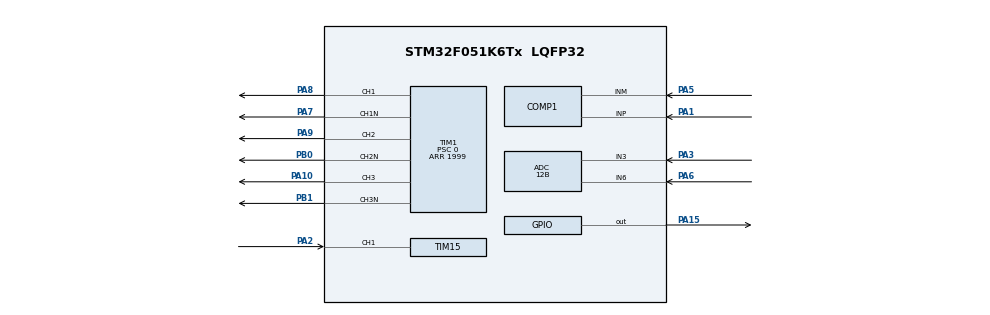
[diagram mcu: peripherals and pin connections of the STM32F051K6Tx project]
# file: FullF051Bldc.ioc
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ADC.ClockPrescaler=ADC_CLOCK_ASYNC_DIV1
ADC.ContinuousConvMode=DISABLE
ADC.DMAContinuousRequests=DISABLE
ADC.DataAlign=ADC_DATAALIGN_RIGHT
ADC.DiscontinuousConvMode=ENABLE
ADC.EOCSelection=ADC_EOC_SEQ_CONV
ADC.EnableAnalogWatchDog=false
ADC.ExternalTrigConv=ADC_SOFTWARE_START
ADC.ExternalTrigConvEdge=ADC_EXTERNALTRIGCONVEDGE_NONE
ADC.LowPowerAutoPowerOff=DISABLE
ADC.LowPowerAutoWait=DISABLE
ADC.Overrun=ADC_OVR_DATA_PRESERVED
ADC.Resolution=ADC_RESOLUTION_12B
ADC.SamplingTime=ADC_SAMPLETIME_239CYCLES_5
ADC.ScanConvMode=ADC_SCAN_DIRECTION_FORWARD
COMP1.Hysteresis=COMP_HYSTERESIS_NONE
COMP1.TriggerMode=COMP_TRIGGERMODE_IT_RISING_FALLING
Dma.Request0=TIM15_CH1/UP/TRIG/COM
Dma.Request1=TIM2_UP
Dma.Request2=TIM2_CH3
Dma.TIM15_CH1/UP/TRIG/COM.0.Direction=DMA_PERIPH_TO_MEMORY
Dma.TIM15_CH1/UP/TRIG/COM.0.Instance=DMA1_Channel5
Dma.TIM15_CH1/UP/TRIG/COM.0.MemDataAlignment=DMA_MDATAALIGN_WORD
Dma.TIM15_CH1/UP/TRIG/COM.0.MemInc=DMA_MINC_ENABLE
Dma.TIM15_CH1/UP/TRIG/COM.0.Mode=DMA_NORMAL
Dma.TIM15_CH1/UP/TRIG/COM.0.PeriphDataAlignment=DMA_PDATAALIGN_HALFWORD
Dma.TIM15_CH1/UP/TRIG/COM.0.PeriphInc=DMA_PINC_DISABLE
Dma.TIM15_CH1/UP/TRIG/COM.0.Priority=DMA_PRIORITY_MEDIUM
Dma.TIM2_CH3.2.Direction=DMA_MEMORY_TO_PERIPH
Dma.TIM2_CH3.2.Instance=DMA1_Channel1
Dma.TIM2_CH3.2.MemDataAlignment=DMA_MDATAALIGN_WORD
Dma.TIM2_CH3.2.MemInc=DMA_MINC_ENABLE
Dma.TIM2_CH3.2.Mode=DMA_NORMAL
Dma.TIM2_CH3.2.PeriphDataAlignment=DMA_PDATAALIGN_WORD
Dma.TIM2_CH3.2.PeriphInc=DMA_PINC_DISABLE
Dma.TIM2_CH3.2.Priority=DMA_PRIORITY_LOW
Dma.TIM2_UP.1.Direction=DMA_MEMORY_TO_PERIPH
Dma.TIM2_UP.1.Instance=DMA1_Channel2
Dma.TIM2_UP.1.MemDataAlignment=DMA_MDATAALIGN_WORD
Dma.TIM2_UP.1.MemInc=DMA_MINC_ENABLE
Dma.TIM2_UP.1.Mode=DMA_NORMAL
Dma.TIM2_UP.1.PeriphDataAlignment=DMA_PDATAALIGN_WORD
Dma.TIM2_UP.1.PeriphInc=DMA_PINC_DISABLE
Dma.TIM2_UP.1.Priority=DMA_PRIORITY_LOW
IWDG.Prescaler=IWDG_PRESCALER_16
IWDG.Reload=4000
IWDG.Window=4095
Mcu.Family=STM32F0
Mcu.Name=STM32F051K6Tx
Mcu.Package=LQFP32
NVIC.ADC1_COMP_IRQn=true\:0\:0\:true\:false\:true\:false\:true
NVIC.DMA1_Channel1_IRQn=true\:1\:0\:true\:false\:true\:false\:true
NVIC.DMA1_Channel2_3_IRQn=true\:1\:0\:true\:false\:true\:false\:true
NVIC.DMA1_Channel4_5_IRQn=true\:1\:0\:true\:false\:true\:false\:true
NVIC.TIM14_IRQn=true\:2\:0\:true\:false\:true\:true\:true
NVIC.TIM16_IRQn=true\:2\:0\:true\:false\:true\:true\:true
NVIC.TIM6_DAC_IRQn=true\:0\:0\:false\:false\:true\:true\:true
PA1.Mode=INP
PA1.Signal=COMP1_INP
PA10.Signal=S_TIM1_CH3
PA13.Mode=Serial_Wire
PA13.Signal=SYS_SWDIO
PA14.Mode=Serial_Wire
PA14.Signal=SYS_SWCLK
PA15.Signal=GPIO_Output
PA2.Signal=S_TIM15_CH1
PA3.Mode=IN3
PA3.Signal=ADC_IN3
PA5.Mode=INM
PA5.Signal=COMP1_INM
PA6.Mode=IN6
PA6.Signal=ADC_IN6
PA7.Mode=PWM Generation1 CH1 CH1N
PA7.Signal=TIM1_CH1N
PA8.Signal=S_TIM1_CH1
PA9.Signal=S_TIM1_CH2
PB0.Mode=PWM Generation2 CH2 CH2N
PB0.Signal=TIM1_CH2N
PB1.Mode=PWM Generation3 CH3 CH3N
PB1.Signal=TIM1_CH3N
ProjectManager.HeapSize=0x200
ProjectManager.StackSize=0x400
ProjectManager.TargetToolchain=STM32CubeIDE
RCC.AHBFreq_Value=48000000
RCC.APB1Freq_Value=48000000
RCC.APB1TimFreq_Value=48000000
RCC.HCLKFreq_Value=48000000
RCC.PLLMUL=RCC_PLL_MUL12
RCC.SYSCLKFreq_VALUE=48000000
RCC.SYSCLKSource=RCC_SYSCLKSOURCE_PLLCLK
SH.S_TIM15_CH1.0=TIM15_CH1,Input_Capture1_from_TI1
SH.S_TIM15_CH1.1=TIM15_CH1,TriggerSource_TI1FP1
SH.S_TIM1_CH1.0=TIM1_CH1,PWM Generation1 CH1 CH1N
SH.S_TIM1_CH2.0=TIM1_CH2,PWM Generation2 CH2 CH2N
SH.S_TIM1_CH3.0=TIM1_CH3,PWM Generation3 CH3 CH3N
TIM1.Channel-PWM\ Generation1\ CH1\ CH1N=TIM_CHANNEL_1
TIM1.Channel-PWM\ Generation2\ CH2\ CH2N=TIM_CHANNEL_2
TIM1.Channel-PWM\ Generation3\ CH3\ CH3N=TIM_CHANNEL_3
TIM1.Channel-PWM\ Generation4\ No\ Output=TIM_CHANNEL_4
TIM1.CounterMode=TIM_COUNTERMODE_UP
TIM1.DeadTime=70
TIM1.Period=1999
TIM1.Prescaler=0
TIM1.TIM_MasterOutputTrigger=TIM_TRGO_RESET
TIM1.TIM_MasterSlaveMode=TIM_MASTERSLAVEMODE_DISABLE
TIM14.Period=4000
TIM14.Prescaler=10
TIM15.Channel-Input_Capture1_from_TI1=TIM_CHANNEL_1
TIM15.ICPolarity_CH1=TIM_INPUTCHANNELPOLARITY_BOTHEDGE
TIM15.Period=0xffff
TIM16.Period=9000
TIM17.Period=65535
TIM17.Prescaler=47
TIM2.Channel-PWM\ Generation3\ No\ Output=TIM_CHANNEL_3
TIM2.OC3Preload_PWM=DISABLE
TIM2.OCFastMode_PWM-PWM\ Generation3\ No\ Output=TIM_OCFAST_ENABLE
TIM2.OCPolarity_3=TIM_OCPOLARITY_LOW
TIM2.Period=64
TIM2.Prescaler=1
TIM3.Period=65535
TIM3.Prescaler=10
TIM6.Period=65535
TIM6.Prescaler=10
VP_ADC_TempSens_Input.Mode=IN-TempSens
VP_IWDG_VS_IWDG.Mode=IWDG_Activate
VP_TIM14_VS_ClockSourceINT.Mode=Enable_Timer
VP_TIM15_VS_ControllerModeReset.Mode=Reset Mode
VP_TIM16_VS_ClockSourceINT.Mode=Enable_Timer
VP_TIM17_VS_ClockSourceINT.Mode=Enable_Timer
VP_TIM1_VS_ClockSourceINT.Mode=Internal
VP_TIM1_VS_no_output4.Mode=PWM Generation4 No Output
VP_TIM2_VS_ClockSourceINT.Mode=Internal
VP_TIM2_VS_no_output3.Mode=PWM Generation3 No Output
VP_TIM3_VS_ClockSourceINT.Mode=Internal
VP_TIM6_VS_ClockSourceINT.Mode=Enable_Timer
board=f051bldc

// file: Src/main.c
/* USER CODE BEGIN Header */
/*
 Firmware for the stm32f051 mcu for controlling brushless or brushed motors, current accepts servo signal input or dshot 300 ( bi-directional )
 other modes disabled for now.
*/
#include "main.h"

uint16_t VirtAddVarTab[NB_OF_VAR] = { 0x5555, 0x6666, 0x7777 };
uint16_t VarDataTab[NB_OF_VAR] = { 0, 0, 0 };
uint16_t VarValue, VarDataTmp;

uint32_t ee_status;

// variables to use for eeprom function,  ie: EE_WriteVariable(VirtAddVarTab[EEvehiclemode],  vehicle_mode ;

enum userVars {
	EEvehiclemode = 0, EEdirection = 1, EEbidirection = 2,
//	EEbrake_on_stop = 3
};
char bi_polar = 0;
char sine_mode_range = 52; // 0-52 at 0 there is no sine mode at 52 gives a input range 47-99 sine
int boost_level = 1; // for stall protection the amount that gets added to duty cycle.

char polling_mode = 0;  // for better low speed accuracy
int test_comp_output = 0;
int level = 0;
int dir_reversed = 0;   // global direction reversed set in eeprom
//uint32_t extiline;

int forcedcomcount = 0;
char bad_commutation = 0;

int bi_direction = 0;
char comp_pwm = 1;           // for complementary pwm , 0 for diode freewheeling
int brake = 1;                          // apply full motor brake on stop
int start_power = 200;
char prop_brake = 0;
int prop_brake_strength = 300;
int IC_buffer_size = 64;

char prop_brake_active = 0;
int adjusted_input;

int dshotcommand = 0;
uint8_t calcCRC;
uint8_t checkCRC;
int error = 0;

int count = 0;
int tempbrake = 0;

char advancedivisor = 12;               // increase divisor to decrease advance,
char advancedivisorup = 3;
char advancedivisordown = 3;
int advance_multiplier = 0;
int min_advance_multiplier = 4; // * 2.25 to get advance degrees to 10 would be 22.5 degrees advance.
int max_advance_multiplier = 10;

int dither_count;
int dither_amount = 10;

int lastzctime = 0;
int sensorless = 0;
int commutation_interval = 0;

int pwm_settle = 50;
int demagtime = 5;
char filter_level = 1;
char compit = 0;
int filter_delay = 2;

int filter_level_up = 8;
int filter_level_down = 8;
int forcedcount = 0;
int control_loop_count;
int zctimeout = 0;
int zc_timeout_threshold = 2400;   // depends on speed of main loop

int signaltimeout = 0;
int signal_timeout_threshold = 20000;

int temp_step;
int ROC = 1;

int tim2_start_arr = 9000;

int duty_cycle = 100;
int adjusted_duty_cycle = 0;

int pwm = 1;
int floating = 2;
int lowside = 3;
int bemf_counts;
int k_erpm;

int forward = 1;

int running = 0;
int started = 0;
uint8_t armed = 0;
int armedcount = 0;

int input_buffer_size = 64;
int smallestnumber = 20000;
uint32_t dma_buffer[64];

int input = 0;
int newinput = 0;

char dshot = 0;
char proshot = 0;
char multishot = 0;
char oneshot42 = 0;
char oneshot125 = 0;
char servoPwm = 0;

char brushed_direction_set = 0;

char inputSet = 0;

int phase_A_position;
int phase_B_position;
int phase_C_position;
int step_delay = 4000;
int gate_drive_offset = 100;
int sine_mode = 0;

int input_override;

uint32_t gcrtest[23] =  {0,0,0,0,0,0,0,0,0,0,0,0,0,0,0,0,0,0,0,0,0,0,0};
uint32_t gcr[23] =  {0,0,0,0,0,0,0,0,0,0,0,0,0,0,0,0,0,0,0,0,0,0,0};
uint16_t gcr_encode_table[16] = { 0b11001,
		0b11011,
		0b10010,
		0b10011,
		0b11101,
		0b10101,
		0b10110,
		0b10111,
		0b11010,
		0b01001,
		0b01010,
		0b01011,
		0b11110,
		0b01101,
		0b01110,
		0b01111
};
uint32_t gcrnumber;
int pwmSin[] = {128,130,132,134,136,139,141,143,
				145,147,150,152,154,156,158,160,
				163,165,167,169,171,173,175,177,
				179,181,183,185,187,189,191,193,
				195,197,199,201,202,204,206,208,
				209,211,213,214,216,218,219,221,
				222,224,225,227,228,229,231,232,
				233,234,236,237,238,239,240,241,
				242,243,244,245,246,247,247,248,
				249,249,250,251,251,252,252,253,
				253,253,254,254,254,255,255,255,
				255,255,255,255,255,255,255,255,
				254,254,254,253,253,253,252,252,
				251,251,250,249,249,248,247,247,
				246,245,244,243,242,241,240,239,
				238,237,236,234,233,232,231,229,
				228,227,225,224,222,221,219,218,
				216,214,213,211,209,208,206,204,
				202,201,199,197,195,193,191,189,
				187,185,183,181,179,177,175,173,
				171,169,167,165,163,160,158,156,
				154,152,150,147,145,143,141,139,
				136,134,132,130,128,125,123,121,
				119,116,114,112,110,108,105,103,
				101,99,97,95,92,90,88,86,
				84,82,80,78,76,74,72,70,
				68,66,64,62,60,58,56,54,
				53,51,49,47,46,44,42,41,
				39,37,36,34,33,31,30,28,
				27,26,24,23,22,21,19,18,
				17,16,15,14,13,12,11,10,
				9,8,8,7,6,6,5,4,
				4,3,3,2,2,2,1,1,
				1,0,0,0,0,0,0,0,
				0,0,0,0,1,1,1,2,
				2,2,3,3,4,4,5,6,
				6,7,8,8,9,10,11,12,
				13,14,15,16,17,18,19,21,
				22,23,24,26,27,28,30,31,
				33,34,36,37,39,41,42,44,
				46,47,49,51,53,54,56,58,
				60,62,64,66,68,70,72,74,
				76,78,80,82,84,86,88,90,
				92,95,97,99,101,103,105,108,
				110,112,114,116,119,121,123,125};
int tim1_arr = 0;
int timer_2_period = 55;
int timer_2_prescaler = 2;
int high_bit_length = 65;
int timer_15_prescaler = 0;
char is_output = 0;

int e_com_time = 65408;
int lastnumber = 0;
int shift_amount = 0;
char dshot_telemetry = 0;
char delay_before_output = 0;
int wait_after = 2500;
int wait_before = 700; // delay after getting dshot signal before changing over to output
//int dshot_full_number;
int timer_16_period = 6000;

char blanktime_int = 0;
int duration_in_microseconds;

int vehicle_mode = VEHICLE_MODE;
int commandcount = 0;
int tocheck = 0;
/* USER CODE END PV */

long map(long x, long in_min, long in_max, long out_min, long out_max) {
	if (x < in_min) {
		x = in_min;
	}
	if (x > in_max) {
		x = in_max;
	}
	return (x - in_min) * (out_max - out_min) / (in_max - in_min) + out_min;
}

void storeEEpromConfig() {

	EE_WriteVariable(VirtAddVarTab[EEvehiclemode], vehicle_mode);
	EE_WriteVariable(VirtAddVarTab[EEdirection], dir_reversed);
	EE_WriteVariable(VirtAddVarTab[EEbidirection], bi_direction);
	// EE_WriteVariable(VirtAddVarTab[EEbrake_on_stop], EEbrake_on_stop);

	// playEEpromSavedTune();
}

void loadEEpromConfig() {
	EE_ReadVariable(VirtAddVarTab[EEvehiclemode], &VarDataTab[EEvehiclemode]);
	EE_ReadVariable(VirtAddVarTab[EEdirection], &VarDataTab[EEdirection]);
	EE_ReadVariable(VirtAddVarTab[EEbidirection], &VarDataTab[EEbidirection]);
//	 EE_ReadVariable(VirtAddVarTab[EEbrake_on_stop], &VarDataTab[EEbrake_on_stop]);

	if (VarDataTab[EEvehiclemode] == 0) {             // nothing in the eeprom
		storeEEpromConfig();            // store default values
	} else {
		vehicle_mode = VarDataTab[EEvehiclemode];
		dir_reversed = VarDataTab[EEdirection];
		bi_direction = VarDataTab[EEbidirection];
//	 brake = VarDataTab[EEbrake_on_stop];
	}
}

int getAbsDif(int number1, int number2) {
	int result = number1 - number2;
	if (result < 0) {
		result = -result;
	}
	return result;
}

void detectInput() {
	smallestnumber = 20000;
	dshot = 0;
	proshot = 0;
	multishot = 0;
	oneshot42 = 0;
	oneshot125 = 0;
	servoPwm = 0;
//	int lastnumber = dma_buffer[0];
	for (int j = 1; j < input_buffer_size; j++) {

		if (dma_buffer[j] < smallestnumber) { // blank space
			smallestnumber = dma_buffer[j];
		}
	}

	if ((smallestnumber > 3) && (smallestnumber < 20)) {
		dshot = 1;
		timer_15_prescaler = 24;
		TIM15->PSC = timer_15_prescaler;
		IC_buffer_size = 32;
		TIM16->ARR = 8000;
	}
	if ((smallestnumber > 20) && (smallestnumber < 40)) {
		dshot = 1;
		timer_15_prescaler = 36;
		TIM15->PSC = timer_15_prescaler;
		TIM16->PSC = 1;
		TIM16->ARR = 8000;
		IC_buffer_size = 32;
	}

	if ((smallestnumber > 40) && (smallestnumber < 55)) {
		dshot = 1;
		timer_15_prescaler = 64;
		TIM2->PSC = 1;
		TIM15->PSC = timer_15_prescaler;
		TIM16->PSC = 1;
		TIM16->ARR = 8000;
		IC_buffer_size = 32;
	}

	if (smallestnumber > 100) {
		servoPwm = 1;
		TIM15->PSC = 47;
		HAL_TIM_Base_Stop(&htim16);
		IC_buffer_size = 6;

	}

	if (smallestnumber == 0) {
		inputSet = 0;
	} else {
		inputSet = 1;
		HAL_Delay(50);
	}
	HAL_TIM_IC_Start_DMA(&htim15, TIM_CHANNEL_1, dma_buffer, IC_buffer_size);
}

void advanceincrement() { // called by timer interrupt when in forced sinusoidal mode.
	if (sine_mode) {
		if (!forward) {
			phase_A_position++;
			if (phase_A_position > 359) {
				phase_A_position = 0;
			}

			phase_B_position++;
			if (phase_B_position > 359) {
				phase_B_position = 0;
			}
			phase_C_position++;
			if (phase_C_position > 359) {
				phase_C_position = 0;
			}
		} else {
			phase_A_position--;
			if (phase_A_position < 0) {
				phase_A_position = 359;
			}

			phase_B_position--;
			if (phase_B_position < 0) {
				phase_B_position = 359;
			}
			phase_C_position--;
			if (phase_C_position < 0) {
				phase_C_position = 359;
			}
		}
		TIM1->CCR1 = (pwmSin[phase_A_position]) + gate_drive_offset;// set duty cycle to 50 out of 768 to start.
		TIM1->CCR2 = (pwmSin[phase_B_position]) + gate_drive_offset;
		TIM1->CCR3 = (pwmSin[phase_C_position]) + gate_drive_offset;
	}
}

void changeToOutput() {
	TIM16->ARR = 65535;
	__HAL_TIM_DISABLE_DMA(&htim15, TIM_DMA_CC1);
	__HAL_TIM_DISABLE_DMA(&htim15, TIM_DMA_UPDATE);
	GPIOA->AFR[0] = 0x200;
	is_output = 1;
}

void HAL_TIM_PeriodElapsedCallback(TIM_HandleTypeDef *htim) {
	if (htim->Instance == TIM6)  // commutation timer
	{
		__HAL_TIM_DISABLE_IT(&htim6, TIM_IT_UPDATE); // disable update interrupt
		TIM17->CNT = 0;
		commutate();
		duration_in_microseconds = TIM17->CNT;
		return;
	}

	if (htim->Instance == TIM16)  // input timeout reset timer
	{
		if (!is_output) {
			if (inputSet == 1) {
				HAL_TIM_IC_Stop_DMA(&htim15, TIM_CHANNEL_1);
				TIM15->CNT = 0;
				HAL_TIM_IC_Start_DMA(&htim15, TIM_CHANNEL_1, dma_buffer,
						IC_buffer_size);
			}
		} else {
			if (delay_before_output == 1) {
				changeToOutput();
				make_dshot_package();
				senddshotburst();
				TIM16->ARR = timer_16_period;
				delay_before_output = 0;
			}
		}
	}

	if (htim->Instance == TIM14) /// sinusoidal interval timer
	{
		advanceincrement();
	}
}

void setupInput() {
	TIM16->CNT = 0;
	TIM16->ARR = timer_16_period;
	GPIOA->AFR[0] = 0x00;                  // set alternate function to zero
	is_output = 0;
}

void transferComplete() {
	signaltimeout = 0;
	count++;
	if (is_output) { // if transfer complete happened on output the tansfer to dma is done and we can switch back lines and start input capture
		setupInput();
		HAL_TIM_IC_Stop_DMA(&htim15, TIM_CHANNEL_1);
		HAL_TIM_IC_Start_DMA(&htim15, TIM_CHANNEL_1, dma_buffer, 33);
		return;
	}

	if (inputSet == 1) {
		if ((dshot_telemetry) && (!is_output)) {
			if ((dma_buffer[0] > 10) || (dma_buffer[1] > 10)) {
				TIM16->CNT = 0;
				TIM16->ARR = 65535;
				is_output = 1;
				TIM16->ARR = wait_before;
				computeDshotDMA();
				dma_buffer[0] = 0;
				dma_buffer[1] = 0;
				delay_before_output = 1;
			}
			//	return;
		}

		if (!dshot_telemetry) {

			if (dshot == 1) {
				computeDshotDMA();
				return;
			}
			if (proshot == 1) {
				computeProshotDMA();
				return;
			}

			if (servoPwm == 1) {
				computeServoInput();
				HAL_TIM_IC_Start_DMA(&htim15, TIM_CHANNEL_1, dma_buffer, 3);
			}
//		if  (multishot){
//			computeMSInput();
//			HAL_TIM_IC_Start_DMA(&htim15, TIM_CHANNEL_1, dma_buffer , 3);
//
//		}
//		if  (oneshot125){
//			computeOS125Input();
//			HAL_TIM_IC_Start_DMA(&htim15, TIM_CHANNEL_1, dma_buffer , 3);
//
//		}
//		if  (oneshot42){
//			computeOS42Input();
//			HAL_TIM_IC_Start_DMA(&htim15, TIM_CHANNEL_1, dma_buffer , 3);
//          }
		}

	}

}

int main(void) {
	/* MCU Configuration--------------------------------------------------------*/
	/* Reset of all peripherals, Initializes the Flash interface and the Systick. */
	HAL_Init();

	/* Configure the system clock */
	SystemClock_Config();

	/* USER CODE BEGIN SysInit */
	HAL_FLASH_Unlock();
	EE_Init();
	/* USER CODE END SysInit */

	/* Initialize all configured peripherals */
	MX_GPIO_Init();
	MX_DMA_Init();
	MX_ADC_Init();
	MX_COMP1_Init();
	MX_TIM1_Init();
	MX_TIM2_Init();
	MX_TIM3_Init();
	MX_TIM15_Init();
//  MX_IWDG_Init();
	MX_TIM16_Init();
	MX_TIM14_Init();
	MX_TIM6_Init();
	MX_TIM17_Init();
	/* USER CODE BEGIN 2 */
	HAL_TIM_PWM_Start(&htim1, TIM_CHANNEL_1);
	HAL_TIMEx_PWMN_Start(&htim1, TIM_CHANNEL_1);
	HAL_TIM_PWM_Start(&htim1, TIM_CHANNEL_2);
	HAL_TIMEx_PWMN_Start(&htim1, TIM_CHANNEL_2);
	HAL_TIM_PWM_Start(&htim1, TIM_CHANNEL_3);
	HAL_TIMEx_PWMN_Start(&htim1, TIM_CHANNEL_3);

	HAL_TIM_Base_Start(&htim2);
	HAL_TIM_Base_Start(&htim6);           // commutation timer
	//HAL_TIM_Base_Start_IT(&htim14);
	HAL_TIM_Base_Start(&htim17);
	HAL_TIM_Base_Start(&htim3);
	//  HAL_Delay(500);
	for (int i = 0; i < vehicle_mode; i++) {
		playStartupTune();
		HAL_Delay(100);
	}
	MX_IWDG_Init();
	if (vehicle_mode == 1) {                    // quad single direction
		loadEEpromConfig();
	}
	if (vehicle_mode == 2) {                   // crawler or thruster
		bi_direction = 1;
		comp_pwm = 1;        // for complementary pwm , 0 for diode freewheeling
		brake = 1;                          // apply full motor brake on stop
	}
	if (vehicle_mode == 3) {              // rc car 50 percent brake on reverse.
		bi_direction = 1;
		comp_pwm = 0;        // for complementary pwm , 0 for diode freewheeling
		brake = 0;                          // apply full motor brake on stop
		prop_brake = 1;
		prop_brake_strength = 900;
	}
	if (vehicle_mode == 4) {              // rc car 50 percent brake on reverse.
		bi_direction = 1;
		comp_pwm = 0;        // for complementary pwm , 0 for diode freewheeling
		brake = 0;                          // apply full motor brake on stop
		prop_brake = 1;
		prop_brake_strength = 800;
	}

	if (vehicle_mode == 5) {                  // quad single direction no eeprom

	}

	if (HAL_COMP_Start_IT(&hcomp1) != HAL_OK) {
		/* Initialization Error */
		Error_Handler();
	}

	if (bi_direction) {
		newinput = 1001;
	}

	if (dir_reversed == 1) {
		forward = 0;
	} else {
		forward = 1;
	}

	//proBrake();
	TIM1->CCR1 = 1;
	TIM1->CCR2 = 1;
	TIM1->CCR3 = 1;

	TIM1->CCR4 = 800;

	if (!BRUSHED_MODE && bi_polar) { // sanity check, turn off bipolar pwm if brushed mode is not selected
		bi_polar = 0;
	}
	if (bi_polar) {
		comp_pwm = 1;
	}
	phase_A_position = 0;
	phase_B_position = 119;
	phase_C_position = 239;

	if (vehicle_mode != 2) {
		sine_mode_range = 0;
	}
	if (sine_mode_range > 52 || sine_mode_range < 0) {
		sine_mode_range = 0;
	}

	DMA1_Channel2->CCR = 0xa90; // for output compare
	DMA1_Channel1->CCR = 0xa91;     // for output compare
	DMA1_Channel5->CCR = 0x981;    // for input capture
	__HAL_TIM_ENABLE_DMA(&htim2, TIM_DMA_UPDATE);
	__HAL_TIM_ENABLE_DMA(&htim2, TIM_DMA_CC3);
	/* USER CODE END 2 */

	/* Infinite loop */
	/* USER CODE BEGIN WHILE */
	while (1) {
		if (count > 100000) {
			count = 0;
		}
		compit = 0;
		if (HAL_IWDG_Refresh(&hiwdg) != HAL_OK)              // watchdog refresh
				{
			/* Refresh Error */
			Error_Handler();
		}
		control_loop_count++;
		if (control_loop_count > 2) {

			control_loop_count = 0;

			//	  		1-5: beep (1= low freq. 5 = high freq.)
			//	  		6: ESC info request (FW Version and SN sent over the tlm wire)
			//	  		7: rotate in one direction
			//	  		8: rotate in the other direction
			//	  		9: 3d mode off
			//	  		10: 3d mode on
			//	  		11: ESC settings request (saved settings over the TLM wire) (planed but not there yet)
			//	  		12: save Settings

			if (dshotcommand > 0) {
				if (dshotcommand == 2) {
					playInputTune();
				}
				if (dshotcommand == 21) {
					forward = dir_reversed;

				}
				if (dshotcommand == 20) {     // forward = 1 if dir_reversed = 0
					forward = 1 - dir_reversed;
				}
				if (dshotcommand == 7) {
					dir_reversed = 0;

				}
				if (dshotcommand == 8) {
					dir_reversed = 1;

				}
				if (dshotcommand == 9) {
					bi_direction = 0;
					armed = 0;

				}
				if (dshotcommand == 10) {
					bi_direction = 1;
					armed = 0;
				}
				if (dshotcommand == 12) {
					storeEEpromConfig();
					while (1) {   // resets esc as iwdg times out

					}
				}
				dshotcommand = 0;
			}

			if (bi_direction == 1 && (proshot == 0 && dshot == 0)) {
				if (newinput > 1100) {
					if (forward == dir_reversed) {
						adjusted_input = 0;
						prop_brake_active = 1;
						brushed_direction_set = 0;
						forward = 1 - dir_reversed;
					}

					if (prop_brake_active == 0) {

						adjusted_input = (newinput - 1099) * 3;
					}
				}
				if (newinput < 760) {
					if (forward == (1 - dir_reversed)) {
						prop_brake_active = 1;
						adjusted_input = 0;
						forward = dir_reversed;
						brushed_direction_set = 0;

					}
					if (prop_brake_active == 0) {
						adjusted_input = ((760 - newinput) * 3);

					}
				}
				if (vehicle_mode != 3) { // car mode requires throttle return to center before direction change
					prop_brake_active = 0;
				}

				if (newinput >= 760 && newinput < 1100) {
					adjusted_input = 0;
					prop_brake_active = 0;
				}

			} else if ((proshot || dshot) && bi_direction) {
				if (newinput > 1097) {

					if (forward == dir_reversed) {
						forward = 1 - dir_reversed;
						bemf_counts = 0;
						brushed_direction_set = 0;
					}
					adjusted_input = (newinput - 1100) * 2 + 100;
				}
				if (newinput <= 1047 && newinput > 0) {
					if (forward == (1 - dir_reversed)) {
						bemf_counts = 0;
						forward = dir_reversed;
						brushed_direction_set = 0;

					}
					adjusted_input = (newinput - 90) * 2;
				}
				if ((newinput > 1047 && newinput < 1098) || newinput <= 120) {
					adjusted_input = 0;
				}

			} else {
				adjusted_input = newinput;
			}

			if (adjusted_input > 2000) {
				adjusted_input = 2000;
			}
			if (input_override > 1) {
				input = input_override;
			} else {
				input = adjusted_input;
			}
		}

		if (BRUSHED_MODE) {
			dither_count++;
			if (dither_count > 2) {
				dither_count = 0;
			}
			if (input > 1990) { // keep slightly below 100 percent duty cycle for some drivers
				input = 1990;
			}
			bemf_counts = 200;

			if (!brushed_direction_set && !prop_brake_active) {

				if (!bi_polar) {
					if (forward) {
						comStep(6);
					} else {
						comStep(3);
					}
					brushed_direction_set = 1;
				} else {      // bipolar pwm  caution!!
					phaseAPWM();
					phaseCPWM();
					brushed_direction_set = 1;
				}
			}
		}

		advance_multiplier = map((commutation_interval), 150, 3000,
				max_advance_multiplier, min_advance_multiplier);
		if (inputSet == 0) {
			HAL_Delay(10);
			detectInput();

		}
		if (!armed) {
			if ((inputSet == 1) && (input == 0)) {
				armedcount++;
				HAL_Delay(1);
				if (armedcount > 2000) {
					armed = 1;
					playInputTune();
				}
			}
			if (input > 0) {
				armedcount = 0;
			}
		}

		if ((input >= (100 - (52-sine_mode_range)-(10*running))) && (armed == 1)) {
			if (sine_mode == 1) {
				sine_mode = 0;
				TIM1->ARR = timer_one_period;
				TIM1->CNT = 0;
				//	    allOff();
				running = 1;
				commutate();
			}
			prop_brake_active = 0;
			started = 1;
			start_power = map((input), 47, 1998, 150, 600);

			duty_cycle = (input - 20);

			if (bemf_counts < 20) {
				if (duty_cycle > 500) {
					duty_cycle = 500;
				}
			}

			if (bemf_counts < 5) {

				duty_cycle = start_power;

			}

			if (running) {
				if (duty_cycle > 1998) {                            // safety!!!
					duty_cycle = 1998;
				}
				if (duty_cycle < 60) {
					duty_cycle = 60;
				}

				if (STALL_PROTECTION && vehicle_mode == 2) {
					if (commutation_interval > 10000) {

						boost_level = map(commutation_interval, 10000, 20000,
								10, 80);
						duty_cycle = duty_cycle + boost_level;
					}
				}

				if (bi_polar) {
					if (dither_count == 0) {
						if (forward) {
							TIM1->CCR2 = (TIM1->ARR / 2) + (input / 2);
							TIM1->CCR3 = (TIM1->ARR / 2) - (input / 2);
						} else {
							TIM1->CCR2 = (TIM1->ARR / 2) - (input / 2);
							TIM1->CCR3 = (TIM1->ARR / 2) + (input / 2);
						}
					}
					if (dither_count == 1) {
						if (forward) {
							TIM1->CCR2 = (TIM1->ARR / 2) + (input / 2)
									+ dither_amount;
							TIM1->CCR3 = (TIM1->ARR / 2) - (input / 2)
									- dither_amount;
						} else {
							TIM1->CCR2 = (TIM1->ARR / 2) - (input / 2)
									- dither_amount;
							TIM1->CCR3 = (TIM1->ARR / 2) + (input / 2)
									+ dither_amount;
						}
					}
					if (dither_count == 2) {
						if (forward) {
							TIM1->CCR2 = (TIM1->ARR / 2) + (input / 2)
									- dither_amount;
							TIM1->CCR3 = (TIM1->ARR / 2) - (input / 2)
									+ dither_amount;
						} else {
							TIM1->CCR2 = (TIM1->ARR / 2) - (input / 2)
									+ dither_amount;
							TIM1->CCR3 = (TIM1->ARR / 2) + (input / 2)
									- dither_amount;
						}
					}
				} else {

					tim1_arr = map(commutation_interval, 84, 168, 1000, 2000);
					adjusted_duty_cycle = (duty_cycle * tim1_arr) / 2000 - 2;
					TIM1->ARR = tim1_arr;

					TIM1->CCR1 = adjusted_duty_cycle;
					TIM1->CCR2 = adjusted_duty_cycle;
					TIM1->CCR3 = adjusted_duty_cycle;

				}
			}

		}

		signaltimeout++;
		if (signaltimeout > signal_timeout_threshold) {
			input = 0;
			armed = 0;
			dshot_telemetry = 0;
			armedcount = 0;
			error = 1;
			inputSet = 0;
			TIM15->PSC = 0;
			TIM16->PSC = 0;
			dshot = 0;
			proshot = 0;
			servoPwm = 0;
			HAL_TIM_Base_Start_IT(&htim16);
			IC_buffer_size = 64;
			for (int i = 0; i < 64; i++) {
				dma_buffer[i] = 0;
			}
			HAL_TIM_IC_Start_DMA(&htim15, TIM_CHANNEL_1, dma_buffer, 64);
		}

		if (input <= 47) {

			sine_mode = 0;
			if ((BRUSHED_MODE) && (brushed_direction_set)) {

				brushed_direction_set = 0;
			}
			if (brake == 1) {
				EXTI->IMR &= ~(1 << 21);
			}
			forcedcomcount = 0;
			started = 0;
			if (!brake && !prop_brake_active) {
				allOff();
			}
			duty_cycle = 0;
			if ((brake || tempbrake) && (!bi_polar)) {
				fullBrake();
				duty_cycle = 0;
				bemf_counts = 0;
			}

			if (prop_brake && prop_brake_active) {
				duty_cycle = prop_brake_strength;
				proBrake();
			}

			if (bi_polar) {
				TIM1->CCR2 = (TIM1->ARR) / 2;
				TIM1->CCR3 = (TIM1->ARR) / 2;
			} else {
				TIM1->CCR1 = duty_cycle;// set duty cycle to 50 out of 768 to start.
				TIM1->CCR2 = duty_cycle;
				TIM1->CCR3 = duty_cycle;
			}
		}

		if (vehicle_mode == 1) {
			if (bemf_counts < 40 || commutation_interval > 1000
					|| duty_cycle < 200) {
				filter_delay = 15;
				filter_level = 10;
			} else {
				filter_level = 5;

				filter_delay = 0;
			}
			if (duty_cycle > 600 && bemf_counts > 75) {
				filter_level = 2;
				//	filter_delay = 0;
			}

			if (commutation_interval < 100 && bemf_counts > 100) {
				filter_level = 2;
			}

		}

		if (vehicle_mode == 2 || vehicle_mode == 3) { // crawler much fewer poles, much more filtering time needed
			if (bemf_counts < 25 || commutation_interval > 4000
					|| duty_cycle < 200) {
				filter_delay = 15;
				filter_level = 15;
			} else {
				filter_level = 8;

				filter_delay = 0;
			}
		}
		if (vehicle_mode == 5) {

			if (bemf_counts < 15 || commutation_interval > 12000) {
				filter_level = 10;
			} else {
				filter_level = 2;
				wait_before = 700;
			}
			if (commutation_interval < 100) {
				filter_level = 1;
				wait_before = 500;
			}
		}

		if (started == 1) {
			if (running == 0) {
				if (BRUSHED_MODE) {
					running = 1;
				} else {

					zctimeout = 0;
					startMotor(); // safety on for input testing   ************************************************
				}
			}
		}

		if (polling_mode && running == 1) {
			checkForZeroCross();
		}

		if (!BRUSHED_MODE || !sine_mode) {
			zctimeout++;
			if (zctimeout > zc_timeout_threshold) {
				bemf_counts = 0;
				bad_commutation = 0;
				sensorless = 0;
				EXTI->IMR &= (0 << 21);
				running = 0;
			}

		}
		if ((input > 47
				&& input < (100 - (52 - sine_mode_range) - (10 * running)))
				&& (armed)) {
			if (running) {
				EXTI->IMR &= ~(1 << 21);
				running = 0;
				started = 0;
			}
			if (sine_mode == 0) {

				proBrake();
				sine_mode = 1;
			}

			step_delay = map(input, 48, 80, 2000, 500);
			TIM14->ARR = step_delay;
			if (TIM14->CNT >= TIM14->ARR) {
				TIM14->CNT = TIM14->ARR - 2;
			}
		}
		/* USER CODE END WHILE */
	}
}

void Error_Handler(void) {
}

/************************ (C) COPYRIGHT STMicroelectronics *****END OF FILE****/
